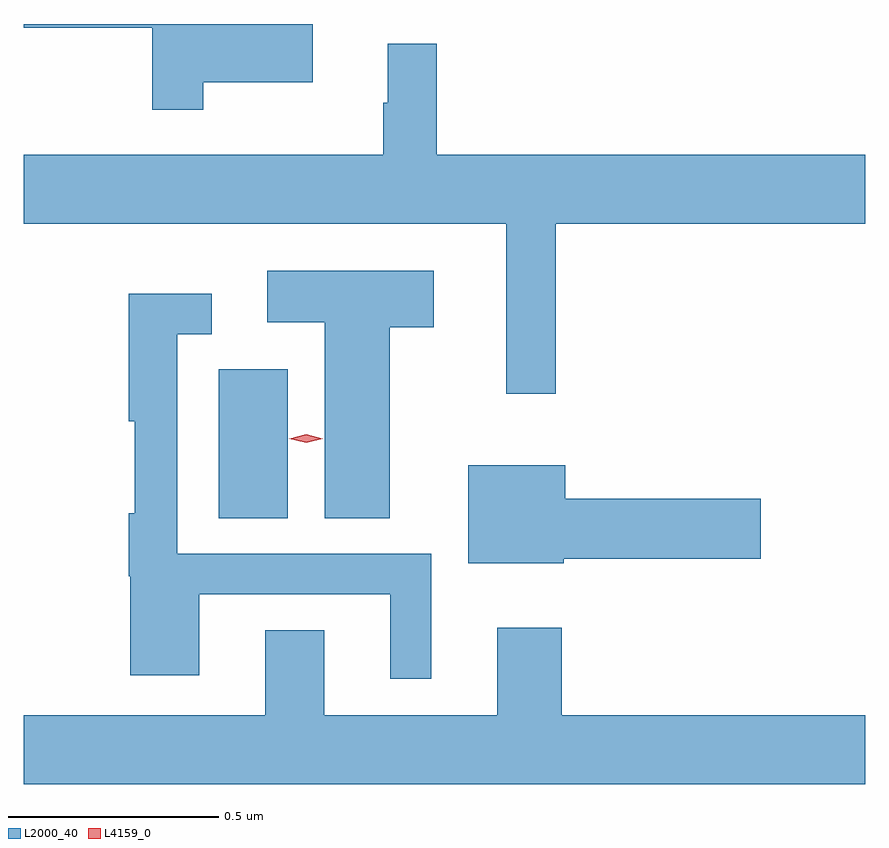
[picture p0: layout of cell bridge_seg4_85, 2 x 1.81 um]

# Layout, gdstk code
import gdstk
lib = gdstk.Library(unit=1e-6, precision=1e-09)
def R(c, l, rs):  # rectangles x0, y0, x1, y1
    for r in rs: c.add(gdstk.rectangle(r[:2], r[2:], *l))
def P(c, l, *ps):  # polygons
    for p in ps: c.add(gdstk.Polygon(p, *l))
L2000_40 = (2000, 40)
L4159_0 = (4159, 0)

bridge_seg4_85 = lib.new_cell('bridge_seg4_85')
R(bridge_seg4_85, L2000_40, [(433.064,806.776,433.228,807.13)])
P(bridge_seg4_85, L2000_40, [(433.027,807.812),(433.288,807.812),(433.288,807.951),(432.601,807.951),(432.601,807.942),(432.906,807.942),(432.906,807.747),(433.027,807.747)],
  [(433.865,807.476),(434.601,807.476),(434.601,807.64),(433.583,807.64),(433.583,807.904),(433.466,807.904),(433.466,807.764),(433.455,807.764),(433.455,807.64),(432.601,807.64),(432.601,807.476),(433.748,807.476),(433.748,807.072),(433.865,807.072)],
  [(433.471,807.23),(433.576,807.23),(433.576,807.364),(433.179,807.364),(433.179,807.242),(433.316,807.242),(433.316,806.776),(433.471,806.776)],
  [(433.57,806.691),(432.966,806.691),(432.966,807.213),(433.048,807.213),(433.048,807.31),(432.85,807.31),(432.85,807.006),(432.865,807.006),(432.865,806.788),(432.85,806.788),(432.85,806.638),(432.854,806.638),(432.854,806.402),(433.018,806.402),(433.018,806.595),(433.472,806.595),(433.472,806.394),(433.57,806.394)],
  [(433.884,806.68),(434.353,806.68),(434.353,806.822),(433.888,806.822),(433.888,806.902),(433.658,806.902),(433.658,806.669),(433.884,806.669)],
  [(434.601,806.308),(433.88,806.308),(433.88,806.515),(433.727,806.515),(433.727,806.308),(433.315,806.308),(433.315,806.51),(433.175,806.51),(433.175,806.308),(432.601,806.308),(432.601,806.144),(434.601,806.144)])
P(bridge_seg4_85, L4159_0, [(433.272,806.955),(433.232,806.965),(433.231,806.965),(433.232,806.965),(433.272,806.975),(433.312,806.965),(433.312,806.965),(433.312,806.965)])

lib.write_gds('bridge_seg4_85.gds')
